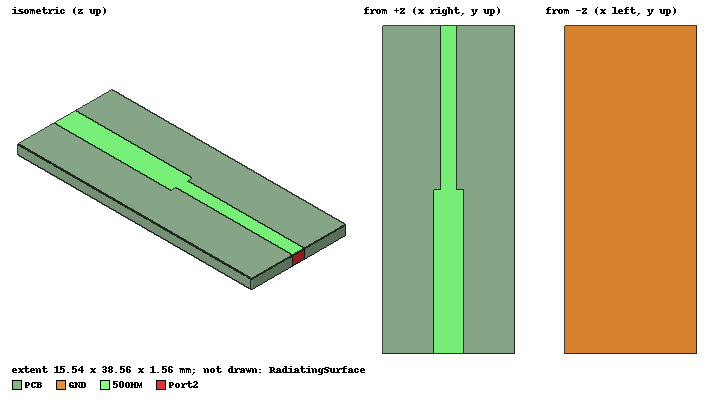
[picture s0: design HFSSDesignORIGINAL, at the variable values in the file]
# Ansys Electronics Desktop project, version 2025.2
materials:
  vacuum: permittivity=1
  Rogers RO4350 (tm): permittivity=3.48 dielectric_loss_tangent=0.0037

design HFSSDesignORIGINAL (HFSS, HFSS Terminal Network, model units mm)
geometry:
  PCB [Rogers RO4350 (tm)] = box(corner=(0mm, 0mm, 0mm), size=(15.54mm, 38.56mm, -1.56mm))
  50OHM = rectangle(corner=(6mm, 0mm, 0mm), x_size=3.54mm, y_size=19.28mm)
  707OHMS = rectangle(corner=(6.805135mm, 19.28mm, 0mm), x_size=1.92973mm, y_size=19.28mm)
  Port1 = rectangle(corner=(6mm, 0mm, 0mm), z_size=-1.56mm, x_size=3.54mm)
  Port2 = rectangle(corner=(8.734865mm, 38.56mm, 0mm), z_size=-1.56mm, x_size=-1.92973mm)
  GND = rectangle(corner=(0mm, 0mm, -1.56mm), x_size=15.54mm, y_size=38.56mm)
  50OHM.unite(707OHMS)
  RadiatingSurface [vacuum] = region(absolute_offset=41.666667mm on all sides)
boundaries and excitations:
  PerfE1: Perfect E Objects=[50OHM, GND]
  Open1: Radiation Objects=RadiatingSurface
  50OHM_T1: Terminal port=1 Edges=50OHM.edge(at (7.77, 0, 0)) TerminalResistance=50ohm
  50OHM_T2: Terminal port=2 Edges=50OHM.edge(at (7.77, 38.56, 0)) TerminalResistance=50ohm
  1: Lumped Port Faces=Port1.face LumpedPortType=Terminal Impedance=50ohm
  2: Lumped Port Faces=Port2.face LumpedPortType=Terminal Impedance=100ohm
  reference conductors: GND
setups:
  Setup1: HfssDriven Frequency=2.4GHz MaxDeltaS=0.02 MaximumPasses=6 MinimumPasses=1 MinimumConvergedPasses=1 PercentRefinement=30 BasisOrder=1 PortAccuracy=2 DrivenSolverType="Direct Solver"
    sweep Sweep: 1.2GHz to 3.6GHz, 401 points; Type=Interpolating InterpTolerance=0.5 InterpMaxSolns=250 PassivityErrorTolerance=0.0001
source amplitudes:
  1:1: 1V 0deg
  2:1: 0V 0deg
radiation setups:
  3D: Infinite Sphere Theta=0deg..180deg step 2deg Phi=-180deg..180deg step 2deg
  Elevation: Infinite Sphere Theta=-180deg..180deg step 1deg Phi=0deg..90deg step 90deg
  Azimuth: Infinite Sphere Theta=90deg..90deg step 0deg Phi=-180deg..180deg step 1deg
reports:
  Terminal S Parameter Plot1: dB(St(50OHM_T1,50OHM_T1)), dB(St(50OHM_T2,50OHM_T1)), dB(St(50OHM_T1,50OHM_T2)), dB(St(50OHM_T2,50OHM_T2)) vs Freq on Setup1 : Sweep; markers m1 at 2.4GHz, m3 at 2.4GHz
  Terminal S Parameter Plot2: dB(St(50OHM_T1,50OHM_T1)), dB(St(50OHM_T2,50OHM_T1)), dB(St(50OHM_T1,50OHM_T2)), dB(St(50OHM_T2,50OHM_T2)) vs Freq on Setup1 : Sweep
